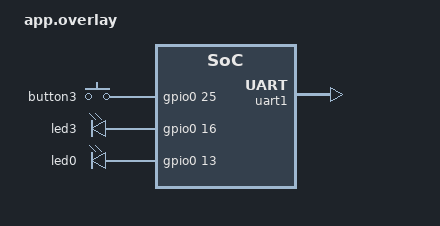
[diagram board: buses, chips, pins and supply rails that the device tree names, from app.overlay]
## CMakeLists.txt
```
#
# Copyright (c) 2018 Nordic Semiconductor
#
# SPDX-License-Identifier: LicenseRef-Nordic-5-Clause
#
cmake_minimum_required(VERSION 3.20.0)

find_package(Zephyr REQUIRED HINTS $ENV{ZEPHYR_BASE})
project(iFPlusVsCodeV2.6.1)

# NORDIC SDK APP START
target_sources(app PRIVATE
  src/main.c
)

# Include UART ASYNC API adapter
target_sources_ifdef(CONFIG_BT_NUS_UART_ASYNC_ADAPTER app PRIVATE
  src/uart_async_adapter.c
)

# NORDIC SDK APP END

zephyr_library_include_directories(.)
```

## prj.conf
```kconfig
#
# Copyright (c) 2018 Nordic Semiconductor
#
# SPDX-License-Identifier: LicenseRef-Nordic-5-Clause
#

# Enable the UART driver
CONFIG_UART_ASYNC_API=y
CONFIG_NRFX_UARTE0=y
CONFIG_SERIAL=y
#uart interrupt
# CONFIG_SERIAL=y
CONFIG_UART_INTERRUPT_DRIVEN=y
CONFIG_GPIO=y

# Make sure printk is printing to the UART console
CONFIG_CONSOLE=y
CONFIG_UART_CONSOLE=y

CONFIG_HEAP_MEM_POOL_SIZE=2048

CONFIG_BT=y
CONFIG_BT_PERIPHERAL=y
CONFIG_BT_DEVICE_NAME="Llacci-key"
CONFIG_BT_MAX_CONN=1
CONFIG_BT_MAX_PAIRED=1

# Enable the NUS service
CONFIG_BT_NUS=y

# Enable bonding
CONFIG_BT_SETTINGS=y
CONFIG_FLASH=y
CONFIG_FLASH_PAGE_LAYOUT=y
CONFIG_FLASH_MAP=y
CONFIG_NVS=y
CONFIG_SETTINGS=y

# Enable DK LED and Buttons library
CONFIG_DK_LIBRARY=y
CONFIG_BT_LBS=y
CONFIG_BT_LBS_POLL_BUTTON=y

# This example requires more stack
CONFIG_MAIN_STACK_SIZE=1152
CONFIG_SYSTEM_WORKQUEUE_STACK_SIZE=2048

# Config logger
CONFIG_LOG=y
CONFIG_USE_SEGGER_RTT=y
CONFIG_LOG_BACKEND_RTT=y
CONFIG_LOG_BACKEND_UART=n
CONFIG_LOG_PRINTK=n

CONFIG_ASSERT=y
```

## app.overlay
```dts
/*
 * Copyright (c) 2022 Nordic Semiconductor ASA
 *
 * SPDX-License-Identifier: LicenseRef-Nordic-5-Clause
 */

/ {
	chosen {
		nordic,nus-uart = &uart0;
	};
};

&uart1 {
	status = "okay";
};

&spi1 {
	status = "disabled";
};

&spi3 {
	status = "disabled";
};

&qspi {
	status = "disabled";
};

&button3 {
	gpios = <&gpio0 25 0>;
};

&led3 {
	gpios = <&gpio0 16 0>;
};

&led0 {
	gpios = <&gpio0 13 0>;
};
```

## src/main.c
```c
/*
 * Copyright (c) 2018 Nordic Semiconductor ASA
 *
 * SPDX-License-Identifier: LicenseRef-Nordic-5-Clause
 */

/** @file
 *  @brief Nordic UART Bridge Service (NUS) sample
 */
#include "main.h"

#define LOG_MODULE_NAME peripheral_uart
LOG_MODULE_REGISTER(LOG_MODULE_NAME);

#define STACKSIZE CONFIG_BT_NUS_THREAD_STACK_SIZE
#define PRIORITY 7

#define DEVICE_NAME CONFIG_BT_DEVICE_NAME
#define DEVICE_NAME_LEN	(sizeof(DEVICE_NAME) - 1)

#define RUN_STATUS_LED DK_LED1
#define RUN_LED_BLINK_INTERVAL 1000

#define CON_STATUS_LED DK_LED2

#define KEY_PASSKEY_ACCEPT DK_BTN1_MSK
#define KEY_PASSKEY_REJECT DK_BTN2_MSK

#define UART_BUF_SIZE CONFIG_BT_NUS_UART_BUFFER_SIZE
#define UART_WAIT_FOR_BUF_DELAY K_MSEC(50)
#define UART_WAIT_FOR_RX CONFIG_BT_NUS_UART_RX_WAIT_TIME
static struct k_work_delayable button_enable_work;
static K_SEM_DEFINE(ble_init_ok, 0, 1);

static struct bt_conn *current_conn;
static struct bt_conn *auth_conn;

static const struct device *uart = DEVICE_DT_GET(DT_CHOSEN(nordic_nus_uart));
static struct k_work_delayable uart_work;
#if deUartFunction
K_MSGQ_DEFINE(uart_msgq, MSG_SIZE, 10, 4);
static const struct device *const MCU_uart = DEVICE_DT_GET(UART0_DEVICE_MCU);
static const struct device *const RFID_uart = DEVICE_DT_GET(UART1_DEVICE_MCU);
static char rx_buf[MSG_SIZE];
static int rx_buf_pos;
#endif
#if deButtonFunction
static const struct gpio_dt_spec button = GPIO_DT_SPEC_GET_OR(SW0_NODE, gpios,{0});
static const struct gpio_dt_spec Rxbutton = GPIO_DT_SPEC_GET_OR(SW1_NODE, gpios,{0});
static struct gpio_callback button_cb_data;
#endif
struct uart_data_t {
	void *fifo_reserved;
	uint8_t data[UART_BUF_SIZE];
	uint16_t len;
};

static K_FIFO_DEFINE(fifo_uart_tx_data);
static K_FIFO_DEFINE(fifo_uart_rx_data);

static const struct bt_data ad[] = {
	BT_DATA_BYTES(BT_DATA_FLAGS, (BT_LE_AD_GENERAL | BT_LE_AD_NO_BREDR)),
	BT_DATA(BT_DATA_NAME_COMPLETE, DEVICE_NAME, DEVICE_NAME_LEN),
};

static const struct bt_data sd[] = {
	BT_DATA_BYTES(BT_DATA_UUID128_ALL, BT_UUID_NUS_VAL),
};

#if CONFIG_BT_NUS_UART_ASYNC_ADAPTER
UART_ASYNC_ADAPTER_INST_DEFINE(async_adapter);
#else
static const struct device *const async_adapter;
#endif

#if deButtonFunction
#if deCapRdyButton
void CapRdyButton_enable_work_handler(struct k_work *work)
{
    LOG_INF("Re-enabling button interrupts.");
    gpio_pin_interrupt_configure_dt(&button, GPIO_INT_EDGE_TO_ACTIVE);
}
void CapRdyButtonInterrupt(const struct device *dev, struct gpio_callback *cb, uint32_t pins){
#if deLED2_Chack2
	if(u8LED3_SwitchFlag == deDisable){
		u8LED3_SwitchFlag = deEnable;
		de_LED4_ON;
	}
	else{
		u8LED3_SwitchFlag = deDisable;
		de_LED4_OFF;
	}
	// u8RxPinChangeLock = deEnable;
#endif	
	
}
void CapReadyPinInit(void){
	int ret;
	int err = 0;	
	if (!gpio_is_ready_dt(&button)) {
		printk("Error: button device %s is not ready\n",
		       button.port->name);
		return 0;
	}
	
	ret = gpio_pin_configure_dt(&button, GPIO_INPUT);
	if (ret != 0) {
		printk("Error %d: failed to configure %s pin %d\n",
		       ret, button.port->name, button.pin);
		return 0;
	}
		ret = gpio_pin_interrupt_configure_dt(&button,GPIO_INT_EDGE_TO_ACTIVE );
	if (ret != 0) {
		printk("Error %d: failed to configure interrupt on %s pin %d\n",
			ret, button.port->name, button.pin);
		return 0;
	}

	gpio_init_callback(&button_cb_data, CapRdyButtonInterrupt, BIT(button.pin));
	gpio_add_callback(button.port, &button_cb_data);
	k_work_init_delayable(&button_enable_work, CapRdyButton_enable_work_handler);
	// gpio_pin_interrupt_configure_dt(&Rxbutton, GPIO_INT_DISABLE);
	
}
#endif
#if deRxButtonfunc
void RxButton_enable_work_handler(struct k_work *work)
{
    LOG_INF("Re-enabling button interrupts.");
    gpio_pin_interrupt_configure_dt(&Rxbutton, GPIO_INT_EDGE_TO_ACTIVE);
}
void RxButtonInterrupt(const struct device *dev, struct gpio_callback *cb, uint32_t pins){
#if deLED2_Chack2
	if(u8LED2_SwitchFlag == deDisable){
		u8LED2_SwitchFlag = deEnable;
		de_LED3_ON;
	}
	else{
		u8LED2_SwitchFlag = deDisable;
		de_LED3_OFF;
	}
	// u8RxPinChangeLock = deEnable;
#endif	
	
}

void RxButtonEn(void){
	int ret;
	int err = 0;	
	if (!gpio_is_ready_dt(&Rxbutton)) {
		printk("Error: button device %s is not ready\n",
		       Rxbutton.port->name);
		return 0;
	}
	
	ret = gpio_pin_configure_dt(&Rxbutton, GPIO_INPUT);
	if (ret != 0) {
		printk("Error %d: failed to configure %s pin %d\n",
		       ret, Rxbutton.port->name, Rxbutton.pin);
		return 0;
	}
		ret = gpio_pin_interrupt_configure_dt(&Rxbutton,GPIO_INT_EDGE_TO_ACTIVE );
	if (ret != 0) {
		printk("Error %d: failed to configure interrupt on %s pin %d\n",
			ret, Rxbutton.port->name, Rxbutton.pin);
		return 0;
	}
	
	gpio_init_callback(&button_cb_data, RxButtonInterrupt, BIT(Rxbutton.pin));
	gpio_add_callback(Rxbutton.port, &button_cb_data);
	k_work_init_delayable(&button_enable_work, RxButton_enable_work_handler);
	
}
#endif
#endif

#ifdef CONFIG_BT_NUS_SECURITY_ENABLED
static void num_comp_reply(bool accept)
{
	if (accept) {
		bt_conn_auth_passkey_confirm(auth_conn);
		LOG_INF("Numeric Match, conn %p", (void *)auth_conn);
	} else {
		bt_conn_auth_cancel(auth_conn);
		LOG_INF("Numeric Reject, conn %p", (void *)auth_conn);
	}

	bt_conn_unref(auth_conn);
	auth_conn = NULL;
}

void button_changed(uint32_t button_state, uint32_t has_changed)
{
	uint32_t buttons = button_state & has_changed;
	if (buttons & KEY_PASSKEY_ACCEPT) {
		if(u8LED3_SwitchFlag == deDisable){
			u8LED3_SwitchFlag = deEnable;
			de_LED4_ON;
		}
		else{
			u8LED3_SwitchFlag = deDisable;
			de_LED4_OFF;
		}	
	}
	if (buttons & KEY_PASSKEY_REJECT) {
		if(u8LED2_SwitchFlag == deDisable){
			u8LED2_SwitchFlag = deEnable;
			de_LED3_ON;
		}
		else{
			u8LED2_SwitchFlag = deDisable;
			de_LED3_OFF;
		}
	}
#if deButtonSampleCode
	if (auth_conn) {
		if (buttons & KEY_PASSKEY_ACCEPT) {
			num_comp_reply(true);
		}

		if (buttons & KEY_PASSKEY_REJECT) {
			num_comp_reply(false);
		}
	}
#endif	
}
#endif /* CONFIG_BT_NUS_SECURITY_ENABLED */

#if deMCU_URFunc
void MCU_DataPro(void){ //MCU Data Process
	int err,ret;
	if(u8MCUURGDDFlag == deEnable){		
#if deLED2_Chack1		
		if(u8LED2_SwitchFlag == deDisable){
			u8LED2_SwitchFlag = deEnable;
			de_LED2_ON;
		}
		else{
			u8LED2_SwitchFlag = deDisable;
			de_LED2_OFF;
		}
#endif
		switch(u8OB_DataBuf[u8OB_DataLen]){
			case '#':
				switch(u8OB_DataBuf[u8OB_DataLen-1]){
					case '5':
#if deLED1_Chack3
						if(u8LED1_SwitchFlag == deDisable){
							u8LED1_SwitchFlag = deEnable;
							de_LED2_ON;
							err = dk_buttons_init(button_changed);
							if (err) {
								LOG_ERR("Cannot init buttons (err: %d)", err);
							}

							// ret = gpio_pin_configure_dt(&Rxbutton, GPIO_INPUT);
							// if (ret != 0) {
								// printk("Error %d: failed to configure %s pin %d\n",
									   // ret, Rxbutton.port->name, Rxbutton.pin);
								// return 0;
							// }

							// err = dk_buttons_init(button_changed);
							// err = gpio_pin_interrupt_configure_dt(&button,GPIO_INT_DISABLE);
							// if (err) {
								// LOG_ERR("Cannot disable callbacks()");
								// return err;
							// }
							// err = dk_buttons_init(button_changed);
							// if (err) {
								// LOG_ERR("Cannot init buttons (err: %d)", err);
							// }
#if deRxButtonfunc							
							// RxButtonEn();
							// gpio_pin_interrupt_configure_dt(&Rxbutton, GPIO_INT_DISABLE);
#endif
						}
						else{
							u8LED1_SwitchFlag = deDisable;
							de_LED2_OFF;
							err = dk_buttons_init(NULL);
							if (err) {
								LOG_ERR("Cannot init buttons (err: %d)", err);
							}
							CapReadyPinInit();
							// RxButtonEn();
							// CapReadyPinInit();
							// ret = gpio_pin_configure_dt(&Rxbutton, GPIO_DISCONNECTED);
							// if (ret != 0) {
								// printk("Error %d: failed to configure %s pin %d\n",
									   // ret, Rxbutton.port->name, Rxbutton.pin);
								// return 0;
							// }

							// CapReadyPinInit();
							// err = gpio_pin_interrupt_configure_dt(&Rxbutton,GPIO_INT_DISABLE);
							// if (err) {
								// LOG_ERR("Cannot disable callbacks()");
								// return err;
							// }

#if deRxButtonfunc							
							// RxButtonEn();
							gpio_pin_interrupt_configure_dt(&Rxbutton, GPIO_INT_DISABLE);
#endif
						}
#endif					
						// u8RxPinChangeLock = deEnable;
					break;
					default:
					break;
				}
			break;
			
			default:
			break;
		}
		u8MCUURGDDFlag = deDisable;	
	}
}

void MCU_SendData(uint8_t* MCU_DataBuff,uint8_t MCU_DataLen){
	for(int i = 0; i < MCU_DataLen;i++){
		uart_poll_out(MCU_uart, MCU_DataBuff[i]);
	}
}
void MCU_UR_Interrupt(const struct device *dev, void *user_data){
	uint8_t c;
	if (!uart_irq_update(MCU_uart)) {
		return;
	}
	if (!uart_irq_rx_ready(MCU_uart)) {
		return;
	}
	/* read until FIFO empty */
	while (uart_fifo_read(MCU_uart, &c, 1) == 1) {
//check Enter Interrupt	
#if deLED1_Chack1
		if(u8LED1_SwitchFlag == deDisable){
			u8LED1_SwitchFlag = deEnable;
			de_LED1_ON;
		}
		else{
			u8LED_SwitchFlag = deDisable;
			de_LED1_OFF;
		}
#endif		
#if deMCU_UR_SampleCode		
		if ((c == '\n' || c == '\r') && rx_buf_pos > 0) {
			/* terminate string */
			rx_buf[rx_buf_pos] = '\0';

			/* if queue is full, message is silently dropped */
			k_msgq_put(&uart_msgq, &rx_buf, K_NO_WAIT);

			/* reset the buffer (it was copied to the msgq) */
			rx_buf_pos = 0;
		} else if (rx_buf_pos < (sizeof(rx_buf) - 1)) {
			rx_buf[rx_buf_pos++] = c;
		}
#endif
#if deMCU_URFunc //iF Plus communication protocol
		if(c == deMCU_CommEndNum || u8MCUURGD_Flag == deEnable){
			u8MCUUR_Buffer[u16MCUUR_BufNum] = c;
			if(c != deMCU_CommEndNum){
				if(u16MCUUR_BufNum >= 3){
					u8MCUURDataLen = u8MCUUR_Buffer[2];
					switch(u8MCUUR_Buffer[1]){
/* 						case deBLE_DataMod:
						break;
						
						case deRFID_DataMod:
						break;*/						
						case deOB_DataMod:
#if deUR_CheckValue1
						u8Debug1ValueBuf[1] = u16MCUUR_BufNum;
						MCU_SendData(u8Debug1ValueBuf,3);				
						u8Debug2ValueBuf[1] = u16MCUUR_BufNum-3;
						MCU_SendData(u8Debug2ValueBuf,3);				
#endif
						u8OB_DataBuf[u16MCUUR_BufNum-3] = c;
						u8OB_DataLen = u16MCUUR_BufNum-3;
#if deUR_CheckValue1
						MCU_SendData(u8OB_DataBuf,3);				
#endif							
						break;
						
						default:
						break;
					}
				}
				u16MCUUR_BufNum++;

			}
			else{
				u8MCUUR_Buffer[u16MCUUR_BufNum] = c;
				u8MCUURCRC = u8MCUUR_Buffer[u16MCUUR_BufNum-1];
				u16MCUUR_BufNum = deValueReset;
				u8MCUURGD_Flag = deDisable;
				c = deValueReset;
				u8MCUURGDDFlag = deEnable;
// check End byte 0x81 Enter function
#if deLED1_Chack2
				if(u8LED1_SwitchFlag == deDisable){
					u8LED1_SwitchFlag = deEnable;
					de_LED1_ON;
				}
				else{
					u8LED1_SwitchFlag = deDisable;
					de_LED1_OFF;
				}
#endif		

			}				
		}
		else if(c == deMCU_CommStartNum){
			u8MCUURGD_Flag = deEnable;
			u8MCUUR_Buffer[u16MCUUR_BufNum] = c;
			u16MCUUR_BufNum++;

		}
#endif
	}
}
void MCU_UR_Init(void){
	char tx_buf[MSG_SIZE];
	// int ret
	if (!device_is_ready(MCU_uart)) {
		printk("UART device not found!");
		return 0;
	}
	/* configure interrupt and callback to receive data */
	int ret = uart_irq_callback_user_data_set(MCU_uart, MCU_UR_Interrupt, NULL);
	if (ret < 0) {
		if (ret == -ENOTSUP) {
			printk("Interrupt-driven UART API support not enabled\n");
		} else if (ret == -ENOSYS) {
			printk("UART device does not support interrupt-driven API\n");
		} else {
			printk("Error setting UART callback: %d\n", ret);
		}
		return 0;
	}	
	deMCU_UR_On;
}

#endif
#if deUR_SampleCode
static void uart_cb(const struct device *dev, struct uart_event *evt, void *user_data){
	ARG_UNUSED(dev);

	static size_t aborted_len;
	struct uart_data_t *buf;
	static uint8_t *aborted_buf;
	static bool disable_req;

	switch (evt->type) {
	case UART_TX_DONE:
		LOG_DBG("UART_TX_DONE");
		if ((evt->data.tx.len == 0) ||
		    (!evt->data.tx.buf)) {
			return;
		}

		if (aborted_buf) {
			buf = CONTAINER_OF(aborted_buf, struct uart_data_t,
					   data[0]);
			aborted_buf = NULL;
			aborted_len = 0;
		} else {
			buf = CONTAINER_OF(evt->data.tx.buf, struct uart_data_t,
					   data[0]);
		}

		k_free(buf);

		buf = k_fifo_get(&fifo_uart_tx_data, K_NO_WAIT);
		if (!buf) {
			return;
		}

		if (uart_tx(uart, buf->data, buf->len, SYS_FOREVER_MS)) {
			LOG_WRN("Failed to send data over UART");
		}

		break;

	case UART_RX_RDY:
		LOG_DBG("UART_RX_RDY");
		buf = CONTAINER_OF(evt->data.rx.buf, struct uart_data_t, data[0]);
		buf->len += evt->data.rx.len;

		if (disable_req) {
			return;
		}

		if ((evt->data.rx.buf[buf->len - 1] == '\n') ||
		    (evt->data.rx.buf[buf->len - 1] == '\r')) {
			disable_req = true;
			uart_rx_disable(uart);
		}

		break;

	case UART_RX_DISABLED:
		LOG_DBG("UART_RX_DISABLED");
		disable_req = false;

		buf = k_malloc(sizeof(*buf));
		if (buf) {
			buf->len = 0;
		} else {
			LOG_WRN("Not able to allocate UART receive buffer");
			k_work_reschedule(&uart_work, UART_WAIT_FOR_BUF_DELAY);
			return;
		}

		uart_rx_enable(uart, buf->data, sizeof(buf->data),
			       UART_WAIT_FOR_RX);

		break;

	case UART_RX_BUF_REQUEST:
		LOG_DBG("UART_RX_BUF_REQUEST");
		buf = k_malloc(sizeof(*buf));
		if (buf) {
			buf->len = 0;
			uart_rx_buf_rsp(uart, buf->data, sizeof(buf->data));
		} else {
			LOG_WRN("Not able to allocate UART receive buffer");
		}

		break;

	case UART_RX_BUF_RELEASED:
		LOG_DBG("UART_RX_BUF_RELEASED");
		buf = CONTAINER_OF(evt->data.rx_buf.buf, struct uart_data_t,
				   data[0]);

		if (buf->len > 0) {
			k_fifo_put(&fifo_uart_rx_data, buf);
		} else {
			k_free(buf);
		}

		break;

	case UART_TX_ABORTED:
		LOG_DBG("UART_TX_ABORTED");
		if (!aborted_buf) {
			aborted_buf = (uint8_t *)evt->data.tx.buf;
		}

		aborted_len += evt->data.tx.len;
		buf = CONTAINER_OF((void *)aborted_buf, struct uart_data_t,
				   data);

		uart_tx(uart, &buf->data[aborted_len],
			buf->len - aborted_len, SYS_FOREVER_MS);

		break;

	default:
		break;
	}
}
static void uart_work_handler(struct k_work *item){
	struct uart_data_t *buf;

	buf = k_malloc(sizeof(*buf));
	if (buf) {
		buf->len = 0;
	} else {
		LOG_WRN("Not able to allocate UART receive buffer");
		k_work_reschedule(&uart_work, UART_WAIT_FOR_BUF_DELAY);
		return;
	}

	uart_rx_enable(uart, buf->data, sizeof(buf->data), UART_WAIT_FOR_RX);
}
static bool uart_test_async_api(const struct device *dev){
	const struct uart_driver_api *api =
			(const struct uart_driver_api *)dev->api;

	return (api->callback_set != NULL);
}
static int uart_init(void){
	int err;
	int pos;
	struct uart_data_t *rx;
	struct uart_data_t *tx;

	if (!device_is_ready(uart)) {
		return -ENODEV;
	}

	if (IS_ENABLED(CONFIG_USB_DEVICE_STACK)) {
		err = usb_enable(NULL);
		if (err && (err != -EALREADY)) {
			LOG_ERR("Failed to enable USB");
			return err;
		}
	}

	rx = k_malloc(sizeof(*rx));
	if (rx) {
		rx->len = 0;
	} else {
		return -ENOMEM;
	}

	k_work_init_delayable(&uart_work, uart_work_handler);


	if (IS_ENABLED(CONFIG_BT_NUS_UART_ASYNC_ADAPTER) && !uart_test_async_api(uart)) {
		/* Implement API adapter */
		uart_async_adapter_init(async_adapter, uart);
		uart = async_adapter;
	}

	err = uart_callback_set(uart, uart_cb, NULL);
	if (err) {
		k_free(rx);
		LOG_ERR("Cannot initialize UART callback");
		return err;
	}

	if (IS_ENABLED(CONFIG_UART_LINE_CTRL)) {
		LOG_INF("Wait for DTR");
		while (true) {
			uint32_t dtr = 0;

			uart_line_ctrl_get(uart, UART_LINE_CTRL_DTR, &dtr);
			if (dtr) {
				break;
			}
			/* Give CPU resources to low priority threads. */
			k_sleep(K_MSEC(100));
		}
		LOG_INF("DTR set");
		err = uart_line_ctrl_set(uart, UART_LINE_CTRL_DCD, 1);
		if (err) {
			LOG_WRN("Failed to set DCD, ret code %d", err);
		}
		err = uart_line_ctrl_set(uart, UART_LINE_CTRL_DSR, 1);
		if (err) {
			LOG_WRN("Failed to set DSR, ret code %d", err);
		}
	}

	tx = k_malloc(sizeof(*tx));

	if (tx) {
		pos = snprintf(tx->data, sizeof(tx->data),
			       "Starting Nordic UART service example\r\n");

		if ((pos < 0) || (pos >= sizeof(tx->data))) {
			k_free(rx);
			k_free(tx);
			LOG_ERR("snprintf returned %d", pos);
			return -ENOMEM;
		}

		tx->len = pos;
	} else {
		k_free(rx);
		return -ENOMEM;
	}

	err = uart_tx(uart, tx->data, tx->len, SYS_FOREVER_MS);
	if (err) {
		k_free(rx);
		k_free(tx);
		LOG_ERR("Cannot display welcome message (err: %d)", err);
		return err;
	}

	err = uart_rx_enable(uart, rx->data, sizeof(rx->data), UART_WAIT_FOR_RX);
	if (err) {
		LOG_ERR("Cannot enable uart reception (err: %d)", err);
		/* Free the rx buffer only because the tx buffer will be handled in the callback */
		k_free(rx);
	}

	return err;
}
#endif
static void connected(struct bt_conn *conn, uint8_t err)
{
	char addr[BT_ADDR_LE_STR_LEN];

	if (err) {
		LOG_ERR("Connection failed (err %u)", err);
		return;
	}

	bt_addr_le_to_str(bt_conn_get_dst(conn), addr, sizeof(addr));
	LOG_INF("Connected %s", addr);

	current_conn = bt_conn_ref(conn);

	dk_set_led_on(CON_STATUS_LED);
}

static void disconnected(struct bt_conn *conn, uint8_t reason)
{
	char addr[BT_ADDR_LE_STR_LEN];

	bt_addr_le_to_str(bt_conn_get_dst(conn), addr, sizeof(addr));

	LOG_INF("Disconnected: %s (reason %u)", addr, reason);

	if (auth_conn) {
		bt_conn_unref(auth_conn);
		auth_conn = NULL;
	}

	if (current_conn) {
		bt_conn_unref(current_conn);
		current_conn = NULL;
		dk_set_led_off(CON_STATUS_LED);
	}
}

#ifdef CONFIG_BT_NUS_SECURITY_ENABLED
static void security_changed(struct bt_conn *conn, bt_security_t level,
			     enum bt_security_err err)
{
	char addr[BT_ADDR_LE_STR_LEN];

	bt_addr_le_to_str(bt_conn_get_dst(conn), addr, sizeof(addr));

	if (!err) {
		LOG_INF("Security changed: %s level %u", addr, level);
	} else {
		LOG_WRN("Security failed: %s level %u err %d", addr,
			level, err);
	}
}
#endif

BT_CONN_CB_DEFINE(conn_callbacks) = {
	.connected    = connected,
	.disconnected = disconnected,
#ifdef CONFIG_BT_NUS_SECURITY_ENABLED
	.security_changed = security_changed,
#endif
};

#if defined(CONFIG_BT_NUS_SECURITY_ENABLED)
static void auth_passkey_display(struct bt_conn *conn, unsigned int passkey)
{
	char addr[BT_ADDR_LE_STR_LEN];

	bt_addr_le_to_str(bt_conn_get_dst(conn), addr, sizeof(addr));

	LOG_INF("Passkey for %s: %06u", addr, passkey);
}

static void auth_passkey_confirm(struct bt_conn *conn, unsigned int passkey)
{
	char addr[BT_ADDR_LE_STR_LEN];

	auth_conn = bt_conn_ref(conn);

	bt_addr_le_to_str(bt_conn_get_dst(conn), addr, sizeof(addr));

	LOG_INF("Passkey for %s: %06u", addr, passkey);
	LOG_INF("Press Button 1 to confirm, Button 2 to reject.");
}


static void auth_cancel(struct bt_conn *conn)
{
	char addr[BT_ADDR_LE_STR_LEN];

	bt_addr_le_to_str(bt_conn_get_dst(conn), addr, sizeof(addr));

	LOG_INF("Pairing cancelled: %s", addr);
}


static void pairing_complete(struct bt_conn *conn, bool bonded)
{
	char addr[BT_ADDR_LE_STR_LEN];

	bt_addr_le_to_str(bt_conn_get_dst(conn), addr, sizeof(addr));

	LOG_INF("Pairing completed: %s, bonded: %d", addr, bonded);
}


static void pairing_failed(struct bt_conn *conn, enum bt_security_err reason)
{
	char addr[BT_ADDR_LE_STR_LEN];

	bt_addr_le_to_str(bt_conn_get_dst(conn), addr, sizeof(addr));

	LOG_INF("Pairing failed conn: %s, reason %d", addr, reason);
}


static struct bt_conn_auth_cb conn_auth_callbacks = {
	.passkey_display = auth_passkey_display,
	.passkey_confirm = auth_passkey_confirm,
	.cancel = auth_cancel,
};

static struct bt_conn_auth_info_cb conn_auth_info_callbacks = {
	.pairing_complete = pairing_complete,
	.pairing_failed = pairing_failed
};
#else
static struct bt_conn_auth_cb conn_auth_callbacks;
static struct bt_conn_auth_info_cb conn_auth_info_callbacks;
#endif

static void bt_receive_cb(struct bt_conn *conn, const uint8_t *const data,
			  uint16_t len)
{
	int err;
	char addr[BT_ADDR_LE_STR_LEN] = {0};

	bt_addr_le_to_str(bt_conn_get_dst(conn), addr, ARRAY_SIZE(addr));

	LOG_INF("Received data from: %s", addr);

	for (uint16_t pos = 0; pos != len;) {
		struct uart_data_t *tx = k_malloc(sizeof(*tx));

		if (!tx) {
			LOG_WRN("Not able to allocate UART send data buffer");
			return;
		}

		/* Keep the last byte of TX buffer for potential LF char. */
		size_t tx_data_size = sizeof(tx->data) - 1;

		if ((len - pos) > tx_data_size) {
			tx->len = tx_data_size;
		} else {
			tx->len = (len - pos);
		}

		memcpy(tx->data, &data[pos], tx->len);

		pos += tx->len;

		/* Append the LF character when the CR character triggered
		 * transmission from the peer.
		 */
		if ((pos == len) && (data[len - 1] == '\r')) {
			tx->data[tx->len] = '\n';
			tx->len++;
		}

		err = uart_tx(uart, tx->data, tx->len, SYS_FOREVER_MS);
		if (err) {
			k_fifo_put(&fifo_uart_tx_data, tx);
		}
	}
}

static struct bt_nus_cb nus_cb = {
	.received = bt_receive_cb,
};

void error(void)
{
	dk_set_leds_state(DK_ALL_LEDS_MSK, DK_NO_LEDS_MSK);

	while (true) {
		/* Spin for ever */
		k_sleep(K_MSEC(1000));
	}
}

static void configure_gpio(void)
{
	int err;

#ifdef CONFIG_BT_NUS_SECURITY_ENABLED
	// err = dk_buttons_init(button_changed);
	// if (err) {
		// LOG_ERR("Cannot init buttons (err: %d)", err);
	// }
	
#endif /* CONFIG_BT_NUS_SECURITY_ENABLED */

	err = dk_leds_init();
	if (err) {
		LOG_ERR("Cannot init LEDs (err: %d)", err);
	}
}
int main(void)
{
	int blink_status = 0;
	int err = 0;

	configure_gpio();
#if deMCU_URFunc	
	MCU_UR_Init();
#endif	
#if deUR_SampleCode
	err = uart_init();
	if (err) {
		error();
	}
#endif
	if (IS_ENABLED(CONFIG_BT_NUS_SECURITY_ENABLED)) {
		err = bt_conn_auth_cb_register(&conn_auth_callbacks);
		if (err) {
			printk("Failed to register authorization callbacks.\n");
			return 0;
		}

		err = bt_conn_auth_info_cb_register(&conn_auth_info_callbacks);
		if (err) {
			printk("Failed to register authorization info callbacks.\n");
			return 0;
		}
	}

	err = bt_enable(NULL);
	if (err) {
		error();
	}
#if deRxButtonfunc
	RxButtonEn();
	// gpio_pin_interrupt_configure_dt(&Rxbutton, GPIO_INT_DISABLE);

#endif	
#if deCapRdyButton
	CapReadyPinInit();
#endif
	LOG_INF("Bluetooth initialized");

	k_sem_give(&ble_init_ok);

	if (IS_ENABLED(CONFIG_SETTINGS)) {
		settings_load();
	}

	err = bt_nus_init(&nus_cb);
	if (err) {
		LOG_ERR("Failed to initialize UART service (err: %d)", err);
		return 0;
	}

	err = bt_le_adv_start(BT_LE_ADV_CONN, ad, ARRAY_SIZE(ad), sd,
			      ARRAY_SIZE(sd));
	if (err) {
		LOG_ERR("Advertising failed to start (err %d)", err);
		return 0;
	}
	for (;;) {
		dk_set_led(DK_LED1, (++blink_status) % 2);
		k_sleep(K_MSEC(RUN_LED_BLINK_INTERVAL));
#if deMCU_URFunc		
		MCU_DataPro();
#endif	
	}
}

void ble_write_thread(void)
{
	/* Don't go any further until BLE is initialized */
	k_sem_take(&ble_init_ok, K_FOREVER);

	for (;;) {
		/* Wait indefinitely for data to be sent over bluetooth */
		struct uart_data_t *buf = k_fifo_get(&fifo_uart_rx_data,
						     K_FOREVER);

		if (bt_nus_send(NULL, buf->data, buf->len)) {
			LOG_WRN("Failed to send data over BLE connection");
		}

		k_free(buf);
	}
}

K_THREAD_DEFINE(ble_write_thread_id, STACKSIZE, ble_write_thread, NULL, NULL,
		NULL, PRIORITY, 0, 0);
```

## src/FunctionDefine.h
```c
#ifndef __FUNCTIONDEFINE_H
#define __FUNCTIONDEFINE_H

#define F_VERSION "0.01.00"

#define deUR_SampleCode			0
#define deMCU_UR_SampleCode		0
#define deButtonSampleCode		0
/* -------------------------------------------------- */
#define deShareFunction			1
#define deUartFunction			1
#define deButtonFunction		1

#define deDebugFunction			1
/* -------------------------------------------------- */
#if deUartFunction
#define deMCU_URFunc			1
#endif

#if deButtonFunction
#define deCapRdyButton			1
#define deRxButtonfunc			0
#endif
/* -------------------------------------------------- */
#if deDebugFunction
/*deLED1_Chack1 in function "MCU_UR_Interrupt" start 
to check Enter Interrupt */
#define deLED1_Chack1			0 
/*deLED1_Chack2 in function "MCU_UR_Interrupt" check c == 0x81 
and get complete data to check */
#define deLED1_Chack2			0
/*deLED1_Chack3 in function "MCU_DataPro" check thread Enter function 
to Process UR data*/
#define deLED1_Chack3			1
 /* deLED2_Chack1 in function "CapRdyInterrupt" to check Enter the function,
 it can use together with deLED1_Chack2*/
#define deLED2_Chack1			0
 /* deLED2_Chack2 in function "MCU_DataPro" to check thread Enter 
 the function*/
#define deLED2_Chack2			1
 /* deUR_CheckValue1 in function "MCU_UR_Interrupt" to 
 check Enter the buffer data correct or not*/
#define deUR_CheckValue1		0
#endif
/* -------------------------------------------------- */
#endif
```

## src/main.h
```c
#ifndef __MAIN_H
#define __MAIN_H
#include "FunctionDefine.h"
#include "uart_async_adapter.h"

#include <zephyr/types.h>
#include <zephyr/kernel.h>
#include <zephyr/drivers/uart.h>
#include <zephyr/usb/usb_device.h>

#include <zephyr/device.h>
#include <zephyr/devicetree.h>
#include <soc.h>

#include <zephyr/bluetooth/bluetooth.h>
#include <zephyr/bluetooth/uuid.h>
#include <zephyr/bluetooth/gatt.h>
#include <zephyr/bluetooth/hci.h>

#include <bluetooth/services/nus.h>

#include <dk_buttons_and_leds.h>

#include <zephyr/settings/settings.h>

#include <stdio.h>

#include <zephyr/logging/log.h>

#include <zephyr/drivers/gpio.h>

#if deShareFunction
#define deValueReset			0
#define deDisable				0
#define deEnable				1
#endif

#if deUartFunction
#define UART0_DEVICE_MCU DT_NODELABEL(uart0)
#define UART1_DEVICE_MCU DT_NODELABEL(uart1)
#define MSG_SIZE 32
#endif

#if deMCU_URFunc
#define deMCU_UR_On				uart_irq_rx_enable(MCU_uart)
#define deMCU_UR_Off			uart_irq_rx_disable(MCU_uart)

#define deMCU_CommStartNum			0x80	// commend Start Number
#define deMCU_CommEndNum			0x81	// commend End	 Number

#define deBLE_DataMod				0x01
#define deRFID_DataMod				0x02
#define deOB_DataMod				0x03

uint8_t	u8MCUUR_Buffer[255];
uint8_t u8BLE_DataBuf[255];					// Connend is BLE Data get Commend
uint8_t u8RFID_DataBuf[50];					// Connend is RFID Data get Commend
uint8_t u8OB_DataBuf[50];					// Connend is Out Board Action Commend

uint8_t	u8MCUURGDDFlag				= 0;	// MUC Uart Get Data Done Flag
uint8_t	u8MCUURGD_Flag				= 0;	// MCU Uart Get Data Flag
uint8_t	u8MCUURDataLen				= 0;	// MCU Uart Get Data Lenght
uint8_t	u8MCUURCRC					= 0;	// MCU Uart Data End CRC data 

uint8_t u8OB_DataLen				= 0;
uint16_t u16MCUUR_BufNum			= 0;	// MCU Uart Buffer Number
#endif


#if deDebugFunction

#define de_LED1_ON		dk_set_led(DK_LED1, deEnable)
#define de_LED1_OFF		dk_set_led(DK_LED1, deDisable)
#define de_LED2_ON		dk_set_led(DK_LED2, deEnable)
#define de_LED2_OFF		dk_set_led(DK_LED2, deDisable)
#define de_LED3_ON		dk_set_led(DK_LED3, deEnable)
#define de_LED3_OFF		dk_set_led(DK_LED3, deDisable)
#define de_LED4_ON		dk_set_led(DK_LED4, deEnable)
#define de_LED4_OFF		dk_set_led(DK_LED4, deDisable)

uint8_t u8LED1_SwitchFlag			= 0;
uint8_t u8LED2_SwitchFlag			= 0;
uint8_t	u8LED3_SwitchFlag			= 0;

#if deUR_CheckValue1
uint8_t	u8Debug1ValueBuf[] = {'!',' ','!','\n'};
uint8_t	u8Debug2ValueBuf[] = {'@',' ','@','\n'};
#endif
#endif

#if deButtonFunction
#define SW0_NODE	DT_ALIAS(sw0)
#define SW1_NODE	DT_ALIAS(sw1)
#define SW2_NODE	DT_ALIAS(sw2)
#define SW3_NODE	DT_ALIAS(sw3)
#endif

#define DEBOUNCE_DELAY_MS 1000 // 1 second debounce delay

#endif
```
